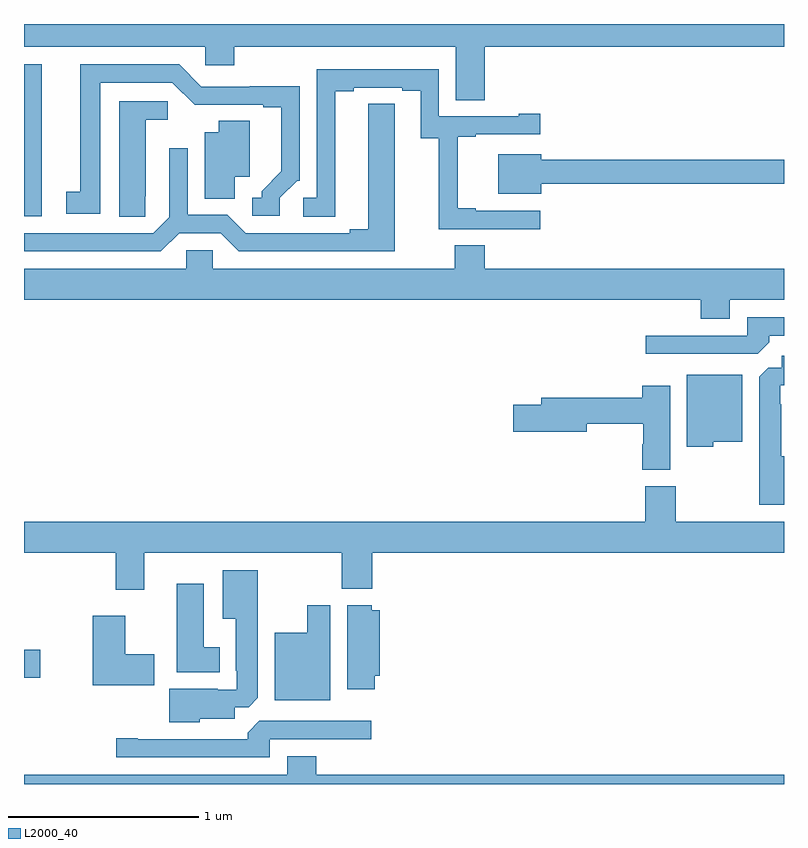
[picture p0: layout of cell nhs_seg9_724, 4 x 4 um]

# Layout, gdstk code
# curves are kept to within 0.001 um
import gdstk
lib = gdstk.Library(unit=1e-6, precision=1e-09)
def R(c, l, rs):  # rectangles x0, y0, x1, y1
    for r in rs: c.add(gdstk.rectangle(r[:2], r[2:], *l))
def P(c, l, *ps):  # polygons
    for p in ps: c.add(gdstk.Polygon(p, *l))
L2000_40 = (2000, 40)

nhs_seg9_724 = lib.new_cell('nhs_seg9_724')
R(nhs_seg9_724, L2000_40, [(147,1233.059,147.085,1233.206), (147,1235.487,147.094,1236.288)])
P(nhs_seg9_724, L2000_40, [(149.426,1236.38),(151,1236.38),(151,1236.5),(147,1236.5),(147,1236.38),(147.954,1236.38),(147.954,1236.282),(148.106,1236.282),(148.106,1236.38),(149.273,1236.38),(149.273,1236.1),(149.426,1236.1)],
  [(148.347,1235.586),(148.437,1235.676),(148.452,1235.676),(148.452,1236.173),(148.189,1236.173),(148.189,1236.171),(147.933,1236.171),(147.816,1236.288),(147.296,1236.288),(147.296,1235.618),(147.222,1235.618),(147.222,1235.502),(147.4,1235.502),(147.4,1236.192),(147.78,1236.192),(147.898,1236.074),(148.259,1236.075),(148.259,1236.063),(148.355,1236.063),(148.355,1235.726),(148.25,1235.621),(148.25,1235.586),(148.2,1235.586),(148.2,1235.49),(148.347,1235.49)],
  [(149.716,1235.517),(149.377,1235.517),(149.377,1235.53),(149.282,1235.53),(149.282,1235.907),(149.377,1235.907),(149.377,1235.919),(149.716,1235.919),(149.716,1236.028),(149.603,1236.028),(149.603,1236.015),(149.184,1236.015),(149.184,1236.261),(148.542,1236.261),(148.542,1235.586),(148.47,1235.586),(148.47,1235.485),(148.639,1235.485),(148.639,1236.145),(148.735,1236.145),(148.735,1236.165),(148.991,1236.165),(148.991,1236.15),(149.087,1236.15),(149.087,1235.899),(149.182,1235.899),(149.182,1235.421),(149.716,1235.421)],
  [(147.639,1235.593),(147.64,1235.593),(147.64,1235.996),(147.757,1235.996),(147.757,1236.093),(147.5,1236.093),(147.5,1235.485),(147.639,1235.485)],
  [(147.817,1235.4),(148.035,1235.4),(148.131,1235.304),(148.951,1235.304),(148.95,1236.08),(148.811,1236.08),(148.811,1235.42),(148.715,1235.42),(148.715,1235.4),(148.167,1235.4),(148.071,1235.496),(147.861,1235.496),(147.861,1235.845),(147.765,1235.845),(147.765,1235.484),(147.681,1235.4),(147,1235.4),(147,1235.304),(147.721,1235.304)],
  [(148.108,1235.696),(148.189,1235.696),(148.189,1235.99),(148.025,1235.99),(148.025,1235.929),(147.95,1235.929),(147.95,1235.581),(148.108,1235.581)],
  [(149.722,1235.658),(151,1235.658),(151,1235.786),(149.722,1235.786),(149.722,1235.815),(149.495,1235.815),(149.495,1235.606),(149.722,1235.606)],
  [(150.715,1235.048),(151,1235.048),(151,1235.212),(149.426,1235.212),(149.426,1235.336),(149.266,1235.336),(149.266,1235.212),(147.993,1235.212),(147.993,1235.31),(147.855,1235.31),(147.855,1235.212),(147,1235.212),(147,1235.048),(150.563,1235.048),(150.563,1234.949),(150.715,1234.949)],
  [(150.923,1234.826),(150.923,1234.86),(151,1234.86),(151,1234.956),(150.807,1234.956),(150.807,1234.86),(150.273,1234.86),(150.273,1234.764),(150.861,1234.764)],
  [(151,1234.225),(150.985,1234.225),(150.985,1234.499),(150.981,1234.499),(150.981,1234.599),(151,1234.599),(151,1234.753),(150.989,1234.753),(150.989,1234.692),(150.918,1234.692),(150.869,1234.643),(150.869,1233.971),(151,1233.971)],
  [(150.627,1234.301),(150.781,1234.301),(150.781,1234.654),(150.488,1234.654),(150.488,1234.274),(150.627,1234.274)],
  [(150.4,1234.597),(150.254,1234.597),(150.254,1234.532),(149.723,1234.532),(149.723,1234.496),(149.574,1234.496),(149.574,1234.354),(149.962,1234.354),(149.962,1234.396),(150.259,1234.396),(150.259,1234.289),(150.254,1234.289),(150.254,1234.153),(150.4,1234.153)],
  [(147,1233.716),(147.482,1233.716),(147.482,1233.522),(147.634,1233.522),(147.634,1233.716),(148.672,1233.716),(148.672,1233.527),(148.832,1233.527),(148.832,1233.716),(151,1233.716),(151,1233.88),(150.429,1233.88),(150.429,1234.068),(150.269,1234.068),(150.269,1233.88),(147,1233.88)],
  [(147.924,1232.843),(148.108,1232.843),(148.108,1232.904),(148.182,1232.904),(148.231,1232.953),(148.231,1233.625),(148.046,1233.625),(148.046,1233.371),(148.115,1233.371),(148.115,1233.097),(148.119,1233.097),(148.119,1232.997),(148.019,1232.997),(148.019,1233.001),(147.764,1233.001),(147.764,1232.825),(147.924,1232.825)],
  [(148.03,1233.22),(147.946,1233.22),(147.946,1233.553),(147.803,1233.553),(147.803,1233.089),(148.03,1233.089)],
  [(148.847,1233.071),(148.873,1233.071),(148.873,1233.415),(148.83,1233.415),(148.83,1233.442),(148.7,1233.442),(148.7,1233),(148.847,1233)],
  [(148.612,1233.442),(148.49,1233.442),(148.49,1233.295),(148.319,1233.295),(148.319,1232.942),(148.612,1232.942)],
  [(147.685,1233.183),(147.532,1233.183),(147.532,1233.385),(147.362,1233.385),(147.362,1233.02),(147.685,1233.02)],
  [(148.293,1232.736),(148.828,1232.736),(148.828,1232.832),(148.239,1232.832),(148.178,1232.77),(148.178,1232.736),(147.598,1232.736),(147.598,1232.741),(147.486,1232.741),(147.486,1232.64),(148.293,1232.64)],
  [(151,1232.548),(148.538,1232.548),(148.538,1232.647),(148.385,1232.647),(148.385,1232.548),(147,1232.548),(147,1232.5),(151,1232.5)])

lib.write_gds('nhs_seg9_724.gds')
